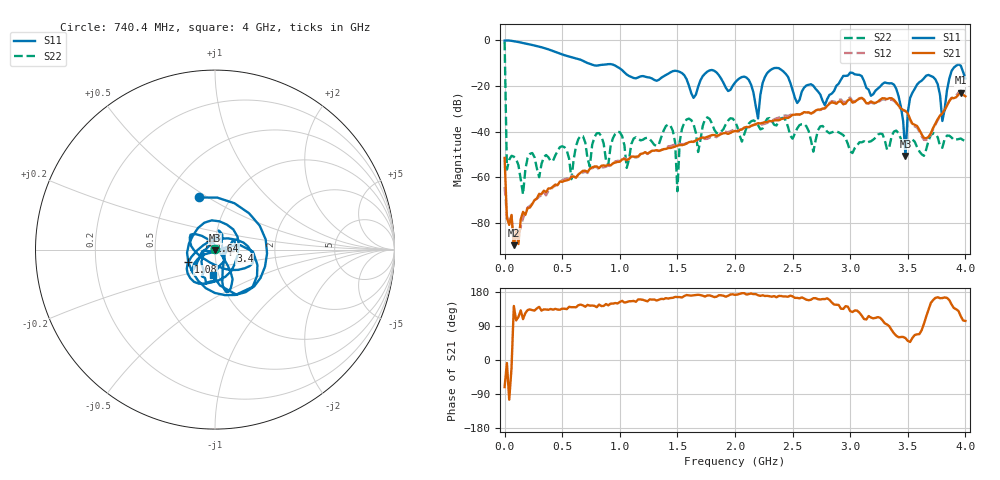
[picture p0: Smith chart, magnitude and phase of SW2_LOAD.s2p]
# Hz S DB R 50
! CMT, S5180, 51801906, 22.3.3/1
! Date: 27/01/2023 17:16:04
! Data: Format (Calibration Info)
! Freq	S11:dB/Ang(F2)	S21:dB/Ang(F2)	S12:dB/Ang(F2)	S22:dB/Ang(F2)
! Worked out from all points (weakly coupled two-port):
!   201 points, 500 kHz to 4 GHz, reference 50 ohm
!   highest |S21| = -22.99 dB at 3.96 GHz (marker M1); lowest = -89.8 dB at 80.49 MHz (marker M2)
!   lowest |S11| = -50.7 dB at 3.48 GHz (marker M3), VSWR 1.01, Z = 50 - j0.292 ohm
!   |S11| at or under -10 dB: 720 MHz to end of sweep
!   |S22| runs from -67.5 to -0.6 dB; largest |S21 - S12| = 0.013
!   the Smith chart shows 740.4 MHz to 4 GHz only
!   S11 on the Smith chart (normalised r, x): 740.4 MHz: 0.72, +0.46; 1.08 GHz: 0.73, -0.11; 1.64 GHz: 0.94, +0.09; 3.4 GHz: 1.19, -0.02; 4 GHz: 0.94, -0.28
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500000  -0.21 -1.9  -51.54 -71.5  -64.26 -165.4  -0.64 12.3
2.04975e7  -0.12 -18.7  -77.88 -7.9  -76.85 -5.0  -56.65 -76.3
8.049e7  -0.46 -71.8  -89.81 142.6  -90.18 177.6  -50.98 75.4
2.80465e8  -2.57 111.9  -69.27 136.1  -69.41 129.7  -56.13 -80.2
4.0045e8  -4.39 11.0  -64.90 134.6  -65.29 135.6  -52.97 -25.1
6.80415e8  -9.02 159.2  -57.20 144.1  -57.99 141.9  -42.03 -156.6
7.404075e8  -10.37 106.7  -56.36 143.3  -56.34 144.8  -55.40 102.5
1.080365e9  -15.67 -154.6  -51.99 155.0  -52.04 152.8  -52.15 47.3
1.340332e9  -17.33 -35.3  -48.47 159.1  -48.52 161.2  -45.46 -147.2
1.460318e9  -13.57 -115.1  -46.93 164.1  -45.99 165.3  -39.65 0.6
1.500312e9  -13.54 -130.9  -46.16 166.3  -45.21 165.7  -66.14 -19.6
1.540308e9  -14.41 -145.8  -45.93 165.1  -45.55 162.7  -38.75 -31.1
1.640295e9  -25.26 119.4  -44.46 170.7  -44.57 170.1  -36.74 114.7
2.00025e9  -18.56 -179.2  -39.74 171.9  -39.32 170.0  -35.54 -75.8
2.680165e9  -19.96 73.7  -31.56 163.1  -31.77 158.9  -48.80 -14.8
3.340082e9  -18.91 10.5  -25.37 88.7  -26.04 89.9  -46.67 47.6
3.400075e9  -21.30 -5.2  -27.35 63.9  -27.60 70.1  -39.59 115.5
3.480065e9  -50.67 -92.5  -30.96 57.7  -31.09 66.3  -46.24 157.7
3.580052e9  -19.47 -148.8  -37.54 67.8  -38.26 71.9  -46.75 -100.1
3.800025e9  -35.37 -126.8  -31.98 163.5  -32.35 155.4  -47.10 31.8
3.960005e9  -11.15 -64.7  -22.99 115.5  -22.07 107.7  -43.06 130.9
4e9  -16.81 -94.4  -24.57 103.1  -23.34 100.9  -44.26 144.2
